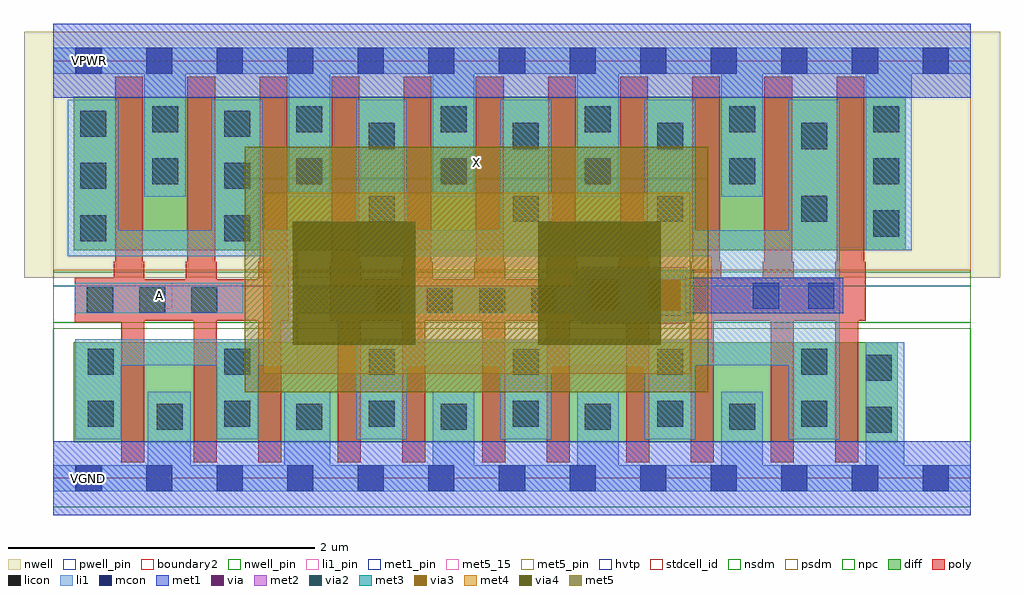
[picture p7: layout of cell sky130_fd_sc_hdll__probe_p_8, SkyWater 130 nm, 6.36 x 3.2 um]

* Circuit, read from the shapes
.subckt sky130_fd_sc_hdll__probe_p_8 A VGND VNB VPB VPWR X
XM1 VGND A n1 VNB sky130_fd_pr__nfet_01v8 w=0.65 l=0.15 m=3
XM2 X n1 VGND VNB sky130_fd_pr__nfet_01v8 w=0.65 l=0.15 m=8
XM3 VPWR A n1 VPB sky130_fd_pr__pfet_01v8_hvt w=1 l=0.18 m=3
XM4 X n1 VPWR VPB sky130_fd_pr__pfet_01v8_hvt w=1 l=0.18 m=8
.ends

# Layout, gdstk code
import gdstk
lib = gdstk.Library(unit=1e-6, precision=1e-09)
def R(c, l, rs):  # rectangles x0, y0, x1, y1
    for r in rs: c.add(gdstk.rectangle(r[:2], r[2:], *l))
def A(c, l, x, y, w, h, nx, ny, dx, dy):  # array of equal rectangles
    R(c, l, [(x+i*dx, y+j*dy, x+i*dx+w, y+j*dy+h) for i in range(nx) for j in range(ny)])
def P(c, l, *ps):  # polygons
    for p in ps: c.add(gdstk.Polygon(p, *l))
nwell_pin = (64, 16)
nwell = (64, 20)
diff = (65, 20)
poly = (66, 20)
licon = (66, 44)
li1_pin = (67, 16)
li1 = (67, 20)
mcon = (67, 44)
met1_pin = (68, 16)
met1 = (68, 20)
via = (68, 44)
met2 = (69, 20)
via2 = (69, 44)
met3 = (70, 20)
via3 = (70, 44)
met4 = (71, 20)
via4 = (71, 44)
met5_15 = (72, 15)
met5_pin = (72, 16)
met5 = (72, 20)
hvtp = (78, 44)
stdcell_id = (81, 4)
nsdm = (93, 44)
psdm = (94, 20)
npc = (95, 20)
pwell_pin = (122, 16)
boundary2 = (236, 0)

sky130_fd_sc_hdll__probe = lib.new_cell('sky130_fd_sc_hdll__probe_p_8')
R(sky130_fd_sc_hdll__probe, nwell_pin, [(0.15,2.635,0.32,2.805)])
R(sky130_fd_sc_hdll__probe, nwell, [(-0.19,1.305,6.17,2.91)])
R(sky130_fd_sc_hdll__probe, diff, [(0.135,0.235,5.505,0.885), (0.135,1.485,5.555,2.485)])
P(sky130_fd_sc_hdll__probe, poly, [(1.535,1.41),(1.525,1.41),(1.525,2.615),(1.345,2.615),(1.345,1.41),(1.335,1.41),(1.335,1.295),(1.065,1.295),(1.065,1.41),(1.055,1.41),(1.055,2.615),(0.875,2.615),(0.875,1.41),(0.865,1.41),(0.865,1.295),(0.595,1.295),(0.595,1.41),(0.585,1.41),(0.585,2.615),(0.405,2.615),(0.405,1.41),(0.395,1.41),(0.395,1.305),(0.14,1.305),(0.14,1.015),(0.445,1.015),(0.445,0.105),(0.595,0.105),(0.595,1.025),(0.915,1.025),(0.915,0.105),(1.065,0.105),(1.065,1.025),(1.335,1.025),(1.335,0.105),(1.485,0.105),(1.485,1.025),(1.535,1.025)],
  [(5.295,1.41),(5.285,1.41),(5.285,2.615),(5.105,2.615),(5.105,1.41),(5.095,1.41),(5.095,1.295),(4.825,1.295),(4.825,1.41),(4.815,1.41),(4.815,2.615),(4.635,2.615),(4.635,1.41),(4.625,1.41),(4.625,1.295),(4.355,1.295),(4.355,1.41),(4.345,1.41),(4.345,2.615),(4.165,2.615),(4.165,1.41),(4.155,1.41),(4.155,1.295),(3.885,1.295),(3.885,1.41),(3.875,1.41),(3.875,2.615),(3.695,2.615),(3.695,1.41),(3.685,1.41),(3.685,1.295),(3.415,1.295),(3.415,1.41),(3.405,1.41),(3.405,2.615),(3.225,2.615),(3.225,1.41),(3.215,1.41),(3.215,1.295),(2.945,1.295),(2.945,1.41),(2.935,1.41),(2.935,2.615),(2.755,2.615),(2.755,1.41),(2.745,1.41),(2.745,1.295),(2.475,1.295),(2.475,1.41),(2.465,1.41),(2.465,2.615),(2.285,2.615),(2.285,1.41),(2.275,1.41),(2.275,1.295),(2.005,1.295),(2.005,1.41),(1.995,1.41),(1.995,2.615),(1.815,2.615),(1.815,1.41),(1.805,1.41),(1.805,1.025),(1.855,1.025),(1.855,0.105),(2.005,0.105),(2.005,1.025),(2.275,1.025),(2.275,0.105),(2.425,0.105),(2.425,1.025),(2.795,1.025),(2.795,0.105),(2.945,0.105),(2.945,1.025),(3.215,1.025),(3.215,0.105),(3.365,0.105),(3.365,1.025),(3.735,1.025),(3.735,0.105),(3.885,0.105),(3.885,1.025),(4.155,1.025),(4.155,0.105),(4.305,0.105),(4.305,1.025),(4.675,1.025),(4.675,0.105),(4.825,0.105),(4.825,1.025),(5.095,1.025),(5.095,0.105),(5.245,0.105),(5.245,1.025),(5.295,1.025)])
A(sky130_fd_sc_hdll__probe, licon, 1.585, 0.315, 0.17, 0.17, 4, 1, 0.94, 0)
A(sky130_fd_sc_hdll__probe, licon, 1.115, 0.335, 0.17, 0.17, 5, 2, 0.94, 0.34)
A(sky130_fd_sc_hdll__probe, licon, 0.22, 1.075, 0.17, 0.17, 3, 1, 0.34, 0)
A(sky130_fd_sc_hdll__probe, licon, 2.095, 1.075, 0.17, 0.17, 6, 1, 0.34, 0)
A(sky130_fd_sc_hdll__probe, licon, 0.175, 1.545, 0.17, 0.17, 1, 3, 0, 0.34)
A(sky130_fd_sc_hdll__probe, licon, 1.115, 1.545, 0.17, 0.17, 1, 3, 0, 0.34)
A(sky130_fd_sc_hdll__probe, licon, 2.055, 1.67, 0.17, 0.17, 4, 2, 0.94, 0.475)
A(sky130_fd_sc_hdll__probe, licon, 0.645, 1.915, 0.17, 0.17, 6, 2, 0.94, 0.34)
R(sky130_fd_sc_hdll__probe, licon, [(5.295,0.295,5.465,0.465), (0.675,0.315,0.845,0.485), (0.225,0.335,0.395,0.505), (5.295,0.635,5.465,0.805), (0.225,0.675,0.395,0.845), (5.345,1.575,5.515,1.745)])
R(sky130_fd_sc_hdll__probe, li1_pin, [(0.15,-0.085,0.32,0.085), (0.605,1.105,0.775,1.275), (0.15,2.635,0.32,2.805)])
R(sky130_fd_sc_hdll__probe, li1, [(0.14,1.075,1.24,1.275)])
P(sky130_fd_sc_hdll__probe, li1, [(4.045,1.245),(1.595,1.245),(1.595,1.615),(1.365,1.615),(1.365,2.465),(1.035,2.465),(1.035,1.615),(0.425,1.615),(0.425,2.465),(0.095,2.465),(0.095,1.445),(1.42,1.445),(1.42,0.905),(0.145,0.905),(0.145,0.255),(0.445,0.255),(0.445,0.735),(1.065,0.735),(1.065,0.255),(1.335,0.255),(1.335,0.735),(1.595,0.735),(1.595,1.075),(4.045,1.075)],
  [(5.125,2.465),(4.795,2.465),(4.795,1.615),(4.185,1.615),(4.185,2.465),(3.855,2.465),(3.855,1.615),(3.245,1.615),(3.245,2.465),(2.915,2.465),(2.915,1.615),(2.305,1.615),(2.305,2.465),(1.975,2.465),(1.975,1.445),(4.29,1.445),(4.29,0.905),(1.975,0.905),(1.975,0.255),(2.305,0.255),(2.305,0.735),(2.915,0.735),(2.915,0.255),(3.245,0.255),(3.245,0.735),(3.855,0.735),(3.855,0.255),(4.185,0.255),(4.185,0.735),(4.795,0.735),(4.795,0.255),(5.125,0.255)],
  [(5.98,0.085),(5.545,0.085),(5.545,0.885),(5.295,0.885),(5.295,0.085),(4.625,0.085),(4.625,0.565),(4.355,0.565),(4.355,0.085),(3.685,0.085),(3.685,0.565),(3.415,0.565),(3.415,0.085),(2.745,0.085),(2.745,0.565),(2.475,0.565),(2.475,0.085),(1.805,0.085),(1.805,0.565),(1.505,0.565),(1.505,0.085),(0.895,0.085),(0.895,0.565),(0.615,0.565),(0.615,0.085),(0,0.085),(0,-0.085),(5.98,-0.085)],
  [(5.98,2.805),(0,2.805),(0,2.635),(0.595,2.635),(0.595,1.835),(0.865,1.835),(0.865,2.635),(1.535,2.635),(1.535,1.835),(1.805,1.835),(1.805,2.635),(2.475,2.635),(2.475,1.835),(2.745,1.835),(2.745,2.635),(3.415,2.635),(3.415,1.835),(3.685,1.835),(3.685,2.635),(4.355,2.635),(4.355,1.835),(4.625,1.835),(4.625,2.635),(5.295,2.635),(5.295,1.485),(5.595,1.485),(5.595,2.635),(5.98,2.635)])
A(sky130_fd_sc_hdll__probe, mcon, 0.145, -0.085, 0.17, 0.17, 13, 2, 0.46, 2.72)
R(sky130_fd_sc_hdll__probe, mcon, [(4.56,1.105,4.73,1.275), (4.92,1.105,5.09,1.275)])
R(sky130_fd_sc_hdll__probe, met1_pin, [(0.15,-0.085,0.32,0.085), (0.15,2.635,0.32,2.805)])
R(sky130_fd_sc_hdll__probe, met1, [(4.105,1.075,5.15,1.305)])
R(sky130_fd_sc_hdll__probe, via, [(3.55,1.115,3.7,1.265), (3.87,1.115,4.02,1.265)])
R(sky130_fd_sc_hdll__probe, via2, [(3.485,1.09,3.685,1.29), (3.885,1.09,4.085,1.29)])
R(sky130_fd_sc_hdll__probe, met3, [(3.395,1.025,3.42,1.355), (4.15,1.025,4.175,1.355)])
R(sky130_fd_sc_hdll__probe, via3, [(3.485,1.09,3.685,1.29), (3.885,1.09,4.085,1.29)])
R(sky130_fd_sc_hdll__probe, via4, [(1.56,0.87,2.36,1.67), (3.16,0.87,3.96,1.67)])
R(sky130_fd_sc_hdll__probe, met5_15, [(1.25,1.945,4.27,1.95)])
R(sky130_fd_sc_hdll__probe, met5_pin, [(1.25,1.955,4.27,2.16)])
R(sky130_fd_sc_hdll__probe, met5, [(1.25,0.56,4.27,2.16)])
R(sky130_fd_sc_hdll__probe, hvtp, [(0,1.25,5.98,2.72)])
R(sky130_fd_sc_hdll__probe, stdcell_id, [(0,0,5.98,2.72)])
R(sky130_fd_sc_hdll__probe, nsdm, [(0,-0.19,5.98,1.015)])
R(sky130_fd_sc_hdll__probe, psdm, [(0,1.355,5.98,2.91)])
R(sky130_fd_sc_hdll__probe, npc, [(0,0.975,5.98,1.345)])
R(sky130_fd_sc_hdll__probe, pwell_pin, [(0.15,-0.085,0.32,0.085)])
R(sky130_fd_sc_hdll__probe, boundary2, [(0,0,5.98,2.72)])
sky130_fd_sc_hdll__probe.add(gdstk.FlexPath([(4.27,1.27),(1.25,1.27)], 1.42, ends="flush", simple_path=True, layer=72, datatype=20))  # met5
sky130_fd_sc_hdll__probe.add(gdstk.FlexPath([(4.15,1.27),(1.37,1.27)], 1.18, ends="flush", simple_path=True, layer=71, datatype=20))  # met4
sky130_fd_sc_hdll__probe.add(gdstk.FlexPath([(3.42,1.19),(4.15,1.19)], 0.33, ends="flush", simple_path=True, layer=71, datatype=20))  # met4
sky130_fd_sc_hdll__probe.add(gdstk.FlexPath([(3.395,1.19),(4.175,1.19)], 0.32, ends="flush", simple_path=True, layer=70, datatype=20))  # met3
sky130_fd_sc_hdll__probe.add(gdstk.FlexPath([(3.42,1.19),(4.15,1.19)], 0.33, ends="flush", simple_path=True, layer=70, datatype=20))  # met3
sky130_fd_sc_hdll__probe.add(gdstk.FlexPath([(3.445,1.19),(4.125,1.19)], 0.37, ends="flush", simple_path=True, layer=69, datatype=20))  # met2
sky130_fd_sc_hdll__probe.add(gdstk.FlexPath([(3.465,1.19),(4.105,1.19)], 0.26, ends="flush", simple_path=True, layer=69, datatype=20))  # met2
sky130_fd_sc_hdll__probe.add(gdstk.FlexPath([(0,2.72),(5.98,2.72)], 0.48, ends="flush", simple_path=True, layer=68, datatype=20))  # met1
sky130_fd_sc_hdll__probe.add(gdstk.FlexPath([(0,0),(5.98,0)], 0.48, ends="flush", simple_path=True, layer=68, datatype=20))  # met1
sky130_fd_sc_hdll__probe.add(gdstk.FlexPath([(3.465,1.19),(4.105,1.19)], 0.26, ends="flush", simple_path=True, layer=68, datatype=20))  # met1
sky130_fd_sc_hdll__probe.add(gdstk.Label('X', (2.76,2.055), layer=72, texttype=5))
sky130_fd_sc_hdll__probe.add(gdstk.Label('A', (0.69,1.19), layer=67, texttype=5))
sky130_fd_sc_hdll__probe.add(gdstk.Label('VGND', (0.23,0), layer=67, texttype=5))
sky130_fd_sc_hdll__probe.add(gdstk.Label('VPWR', (0.235,2.72), layer=67, texttype=5))
sky130_fd_sc_hdll__probe.add(gdstk.Label('VPB', (0.235,2.72), layer=64, texttype=5))
sky130_fd_sc_hdll__probe.add(gdstk.Label('VNB', (0.235,0), layer=64, texttype=59))
sky130_fd_sc_hdll__probe.add(gdstk.Label('VGND', (0.23,0), layer=68, texttype=5))
sky130_fd_sc_hdll__probe.add(gdstk.Label('VPWR', (0.235,2.72), layer=68, texttype=5))
sky130_fd_sc_hdll__probe.add(gdstk.Label('probe_p_8', (0,0), layer=83, texttype=44))

lib.write_gds('sky130_fd_sc_hdll__probe_p_8.gds')
